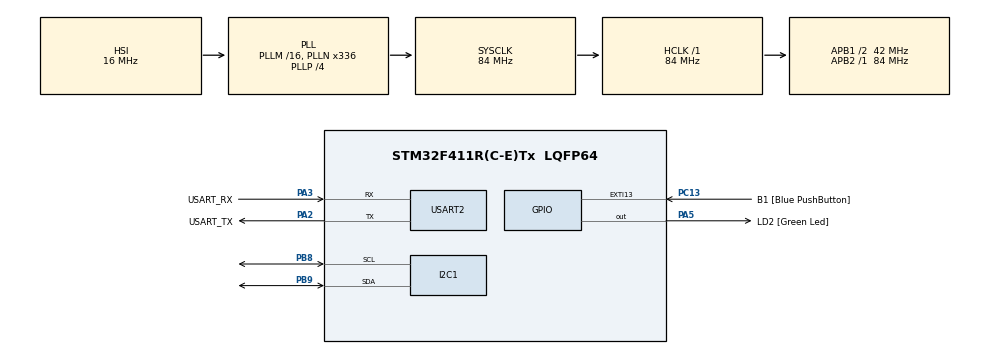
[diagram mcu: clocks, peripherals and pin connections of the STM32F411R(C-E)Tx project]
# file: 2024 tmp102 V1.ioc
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Mcu.Family=STM32F4
Mcu.Name=STM32F411R(C-E)Tx
Mcu.Package=LQFP64
NVIC.PriorityGroup=NVIC_PRIORITYGROUP_0
PA13.GPIO_Label=TMS
PA13.Mode=Serial_Wire
PA13.Signal=SYS_JTMS-SWDIO
PA14.GPIO_Label=TCK
PA14.Mode=Serial_Wire
PA14.Signal=SYS_JTCK-SWCLK
PA2.GPIO_Label=USART_TX
PA2.Mode=Asynchronous
PA2.Signal=USART2_TX
PA3.GPIO_Label=USART_RX
PA3.Mode=Asynchronous
PA3.Signal=USART2_RX
PA5.GPIO_Label=LD2 [Green Led]
PA5.Signal=GPIO_Output
PB3.GPIO_Label=SWO
PB3.Signal=SYS_JTDO-SWO
PB8.Mode=I2C
PB8.Signal=I2C1_SCL
PB9.Mode=I2C
PB9.Signal=I2C1_SDA
PC13-ANTI_TAMP.GPIO_Label=B1 [Blue PushButton]
PC13-ANTI_TAMP.GPIO_ModeDefaultEXTI=GPIO_MODE_IT_FALLING
PC13-ANTI_TAMP.Signal=GPXTI13
PC14-OSC32_IN.Mode=LSE-External-Oscillator
PC14-OSC32_IN.Signal=RCC_OSC32_IN
PC15-OSC32_OUT.Mode=LSE-External-Oscillator
PC15-OSC32_OUT.Signal=RCC_OSC32_OUT
PH0\ -\ OSC_IN.Mode=HSE-External-Clock-Source
PH0\ -\ OSC_IN.Signal=RCC_OSC_IN
PH1\ -\ OSC_OUT.Mode=HSE-External-Clock-Source
PH1\ -\ OSC_OUT.Signal=RCC_OSC_OUT
ProjectManager.HeapSize=0x200
ProjectManager.StackSize=0x400
ProjectManager.TargetToolchain=STM32CubeIDE
RCC.48MHZClocksFreq_Value=84000000
RCC.AHBFreq_Value=84000000
RCC.APB1CLKDivider=RCC_HCLK_DIV2
RCC.APB1Freq_Value=42000000
RCC.APB1TimFreq_Value=84000000
RCC.APB2Freq_Value=84000000
RCC.APB2TimFreq_Value=84000000
RCC.CortexFreq_Value=84000000
RCC.FLatency-AdvancedSettings=FLASH_LATENCY_2
RCC.HCLKFreq_Value=84000000
RCC.HSE_VALUE=8000000
RCC.HSI_VALUE=16000000
RCC.PLLN=336
RCC.PLLP=RCC_PLLP_DIV4
RCC.SYSCLKFreq_VALUE=84000000
RCC.SYSCLKSource=RCC_SYSCLKSOURCE_PLLCLK
RCC.VCOOutputFreq_Value=336000000
USART2.VirtualMode=VM_ASYNC
board=NUCLEO-F411RE

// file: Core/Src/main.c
/* USER CODE BEGIN Header */
/**
 ******************************************************************************
 * @file           : main.c
 * @brief          : Main program body
 ******************************************************************************
 * @attention
 *
 * Copyright (c) 2024 STMicroelectronics.
 * All rights reserved.
 *
 * This software is licensed under terms that can be found in the LICENSE file
 * in the root directory of this software component.
 * If no LICENSE file comes with this software, it is provided AS-IS.
 *
 ******************************************************************************
 */
/* USER CODE END Header */
#include "main.h"

/* USER CODE BEGIN Includes */
#include <string.h>		//for strlen and string_copy
#include <stdio.h>		//for sprintf
/* USER CODE END Includes */

I2C_HandleTypeDef hi2c1;

UART_HandleTypeDef huart2;

/* USER CODE BEGIN PV */
static const uint8_t TMP102_ADDR = 0x48 << 1; //default address
static const uint8_t TEMPERATURE_REG = 0x00;
/* USER CODE END PV */

void SystemClock_Config(void);
static void MX_GPIO_Init(void);
static void MX_USART2_UART_Init(void);
static void MX_I2C1_Init(void);
void decToBinary(int);
uint8_t buffer[20];//buffer for snding and receiving data
uint8_t buffer_get[2];//buffer for temperature reading

int16_t read_value;	//raw value
int16_t read_value_FIXED;
int16_t value_pos_neg;	//value_positive or negative
uint16_t read_value_BUF_0_INV;
uint16_t read_value_BUF_1_INV;
uint16_t read_value_inv;

int main(void) {

	/* USER CODE BEGIN 1 */
	HAL_StatusTypeDef ret;

	float temp_in_c_all;
	int temp_c;
	char sign ;

	/* USER CODE END 1 */

	/* MCU Configuration--------------------------------------------------------*/

	/* Reset of all peripherals, Initializes the Flash interface and the Systick. */
	HAL_Init();

	/* Configure the system clock */
	SystemClock_Config();

	/* Initialize all configured peripherals */
	MX_GPIO_Init();
	MX_USART2_UART_Init();
	MX_I2C1_Init();

	/* Infinite loop */
	/* USER CODE BEGIN WHILE */
	while (1) {
		// Tell TMP102 that we want to read from the temperature register
		buffer_get[0] = TEMPERATURE_REG;
		ret = HAL_I2C_Master_Transmit(&hi2c1, TMP102_ADDR, buffer_get, 1,
				HAL_MAX_DELAY);
		if (ret != HAL_OK) {
			strcpy((char*) buffer, "Error Tx\r\n");
		} else {

			// Read 2 bytes from the temperature register
			ret = HAL_I2C_Master_Receive(&hi2c1, TMP102_ADDR, buffer_get, 2,
					HAL_MAX_DELAY);
			if (ret != HAL_OK) {
				strcpy((char*) buffer, "Error Rx\r\n");
			} else {

				//Combine the bytes
				read_value = ((int16_t) buffer_get[0] << 4)	| (int16_t) (buffer_get[1] >> 4);

				//create new varible because if we dont do it, program will do some errors and I can explain it
				read_value_FIXED = read_value;

				//if temperrature is negative, we must invert reading bytes,
				//so we invert bytes and then do combine
				read_value_BUF_0_INV =(int16_t) 0xFF ^ (buffer_get[0]);
				read_value_BUF_1_INV=(int16_t)0xFF^(buffer_get[1] );

				//combine inverted bytes
				read_value_inv = (read_value_BUF_0_INV << 4 | read_value_BUF_1_INV >> 4);

				//just test
//				 sprintf(buffer, "read_value %d \r\n", read_value);
//				 HAL_UART_Transmit(&huart2, buffer, strlen(buffer), HAL_MAX_DELAY);

					//just test
//				 sprintf(buffer, "read_value_inv %d \r\n", read_value_inv);
//					 HAL_UART_Transmit(&huart2, buffer, strlen(buffer), HAL_MAX_DELAY);

						//just test
//					 sprintf(buffer, "read_value_FIXED %d \r\n", read_value_FIXED);
//					 				 HAL_UART_Transmit(&huart2, buffer, strlen(buffer), HAL_MAX_DELAY);

				// If temperature will be negative it will be  over 0x7FF or 2047 by datasheet
				if (read_value > 2047) {
					sign = '-';
					value_pos_neg = read_value_inv + 1;
				}else {
					sign = '+';
					value_pos_neg = read_value_FIXED;

					//just test
//					 sprintf(buffer, "value_pos_neg %d \r\n", value_pos_neg);
//					 HAL_UART_Transmit(&huart2, buffer, strlen(buffer), HAL_MAX_DELAY);
				}
				// Convert to float temperature value (Celsius)
				temp_in_c_all = value_pos_neg * 0.0625;

				// Convert temperature to decimal format
				temp_c = temp_in_c_all * 100;
				sprintf(buffer, "%c%d.%d  C\r\n", (sign), (temp_c / 100),
						(temp_c % 100));
				HAL_UART_Transmit(&huart2, buffer, strlen(buffer),
						HAL_MAX_DELAY);
				// Wait
				HAL_Delay(500);
			}
		}

		/* USER CODE END WHILE */

	}
}

void SystemClock_Config(void) {
	RCC_OscInitTypeDef RCC_OscInitStruct = { 0 };
	RCC_ClkInitTypeDef RCC_ClkInitStruct = { 0 };

	/** Configure the main internal regulator output voltage
	 */
	__HAL_RCC_PWR_CLK_ENABLE();
	__HAL_PWR_VOLTAGESCALING_CONFIG(PWR_REGULATOR_VOLTAGE_SCALE1);

	/** Initializes the RCC Oscillators according to the specified parameters
	 * in the RCC_OscInitTypeDef structure.
	 */
	RCC_OscInitStruct.OscillatorType = RCC_OSCILLATORTYPE_HSI;
	RCC_OscInitStruct.HSIState = RCC_HSI_ON;
	RCC_OscInitStruct.HSICalibrationValue = RCC_HSICALIBRATION_DEFAULT;
	RCC_OscInitStruct.PLL.PLLState = RCC_PLL_ON;
	RCC_OscInitStruct.PLL.PLLSource = RCC_PLLSOURCE_HSI;
	RCC_OscInitStruct.PLL.PLLM = 16;
	RCC_OscInitStruct.PLL.PLLN = 336;
	RCC_OscInitStruct.PLL.PLLP = RCC_PLLP_DIV4;
	RCC_OscInitStruct.PLL.PLLQ = 4;
	if (HAL_RCC_OscConfig(&RCC_OscInitStruct) != HAL_OK) {
		Error_Handler();
	}

	/** Initializes the CPU, AHB and APB buses clocks
	 */
	RCC_ClkInitStruct.ClockType = RCC_CLOCKTYPE_HCLK | RCC_CLOCKTYPE_SYSCLK
			| RCC_CLOCKTYPE_PCLK1 | RCC_CLOCKTYPE_PCLK2;
	RCC_ClkInitStruct.SYSCLKSource = RCC_SYSCLKSOURCE_PLLCLK;
	RCC_ClkInitStruct.AHBCLKDivider = RCC_SYSCLK_DIV1;
	RCC_ClkInitStruct.APB1CLKDivider = RCC_HCLK_DIV2;
	RCC_ClkInitStruct.APB2CLKDivider = RCC_HCLK_DIV1;

	if (HAL_RCC_ClockConfig(&RCC_ClkInitStruct, FLASH_LATENCY_2) != HAL_OK) {
		Error_Handler();
	}
}

static void MX_I2C1_Init(void) {

	hi2c1.Instance = I2C1;
	hi2c1.Init.ClockSpeed = 100000;
	hi2c1.Init.DutyCycle = I2C_DUTYCYCLE_2;
	hi2c1.Init.OwnAddress1 = 0;
	hi2c1.Init.AddressingMode = I2C_ADDRESSINGMODE_7BIT;
	hi2c1.Init.DualAddressMode = I2C_DUALADDRESS_DISABLE;
	hi2c1.Init.OwnAddress2 = 0;
	hi2c1.Init.GeneralCallMode = I2C_GENERALCALL_DISABLE;
	hi2c1.Init.NoStretchMode = I2C_NOSTRETCH_DISABLE;
	if (HAL_I2C_Init(&hi2c1) != HAL_OK) {
		Error_Handler();
	}

}

static void MX_USART2_UART_Init(void) {

	huart2.Instance = USART2;
	huart2.Init.BaudRate = 115200;
	huart2.Init.WordLength = UART_WORDLENGTH_8B;
	huart2.Init.StopBits = UART_STOPBITS_1;
	huart2.Init.Parity = UART_PARITY_NONE;
	huart2.Init.Mode = UART_MODE_TX_RX;
	huart2.Init.HwFlowCtl = UART_HWCONTROL_NONE;
	huart2.Init.OverSampling = UART_OVERSAMPLING_16;
	if (HAL_UART_Init(&huart2) != HAL_OK) {
		Error_Handler();
	}

}

static void MX_GPIO_Init(void) {
	GPIO_InitTypeDef GPIO_InitStruct = { 0 };

	/* GPIO Ports Clock Enable */
	__HAL_RCC_GPIOC_CLK_ENABLE();
	__HAL_RCC_GPIOH_CLK_ENABLE();
	__HAL_RCC_GPIOA_CLK_ENABLE();
	__HAL_RCC_GPIOB_CLK_ENABLE();

	/*Configure GPIO pin Output Level */
	HAL_GPIO_WritePin(LD2_GPIO_Port, LD2_Pin, GPIO_PIN_RESET);

	/*Configure GPIO pin : B1_Pin */
	GPIO_InitStruct.Pin = B1_Pin;
	GPIO_InitStruct.Mode = GPIO_MODE_IT_FALLING;
	GPIO_InitStruct.Pull = GPIO_NOPULL;
	HAL_GPIO_Init(B1_GPIO_Port, &GPIO_InitStruct);

	/*Configure GPIO pin : LD2_Pin */
	GPIO_InitStruct.Pin = LD2_Pin;
	GPIO_InitStruct.Mode = GPIO_MODE_OUTPUT_PP;
	GPIO_InitStruct.Pull = GPIO_NOPULL;
	GPIO_InitStruct.Speed = GPIO_SPEED_FREQ_LOW;
	HAL_GPIO_Init(LD2_GPIO_Port, &GPIO_InitStruct);

}

void Error_Handler(void) {
	__disable_irq();
	while (1) {
	}
}
